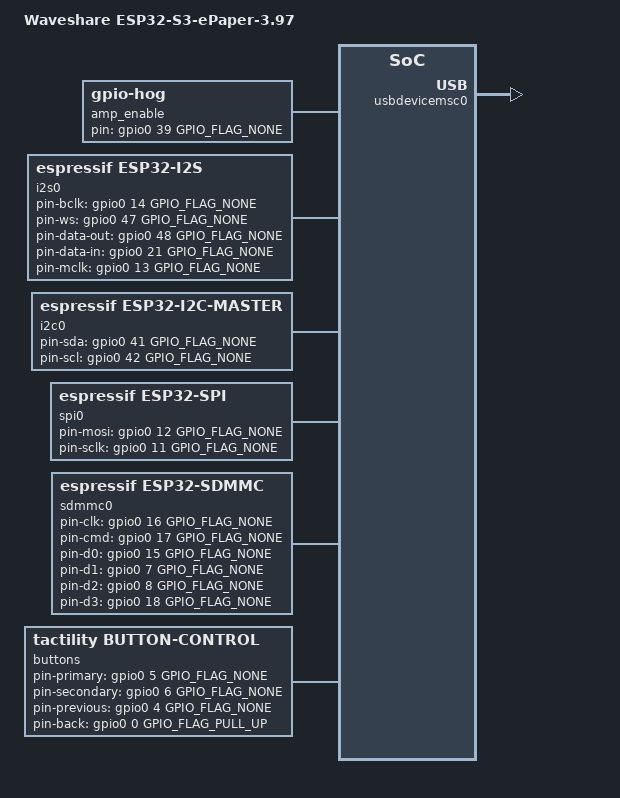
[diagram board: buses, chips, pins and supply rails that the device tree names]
/dts-v1/;

#include <tactility/bindings/root.h>
#include <tactility/bindings/esp32_ble.h>
#include <tactility/bindings/esp32_wifi_pinned.h>
#include <tactility/bindings/esp32_gpio.h>
#include <tactility/bindings/esp32_i2c_master.h>
#include <tactility/bindings/esp32_i2s.h>
#include <tactility/bindings/esp32_sdmmc.h>
#include <tactility/bindings/esp32_spi.h>
#include <tactility/bindings/esp32_usbdevice.h>
#include <tactility/bindings/gpio_hog.h>
#include <bindings/axp2101.h>
#include <bindings/pcf85063.h>
#include <bindings/qmi8658.h>
#include <bindings/shtc3.h>
#include <bindings/es8311.h>
#include <bindings/ssd1677.h>
#include <bindings/button_control.h>

// Reference: https://docs.waveshare.com/ESP32-S3-ePaper-3.97
/ {
	compatible = "root";
	model = "Waveshare ESP32-S3-ePaper-3.97";

	wifi0 {
		compatible = "espressif,esp32-wifi-pinned";
	};

	ble0 {
		compatible = "espressif,esp32-ble";
	};

	gpio0 {
		compatible = "espressif,esp32-gpio";
		gpio-count = <49>;
	};

	// NS4150B speaker amplifier enable, active high
	amp_enable {
		compatible = "gpio-hog";
		pin = <&gpio0 39 GPIO_FLAG_NONE>;
		mode = <GPIO_HOG_MODE_OUTPUT_HIGH>;
	};

	// Before the I2C bus so the codec can reference it
	i2s0 {
		compatible = "espressif,esp32-i2s";
		port = <I2S_NUM_0>;
		pin-bclk = <&gpio0 14 GPIO_FLAG_NONE>;
		pin-ws = <&gpio0 47 GPIO_FLAG_NONE>;
		pin-data-out = <&gpio0 48 GPIO_FLAG_NONE>;
		pin-data-in = <&gpio0 21 GPIO_FLAG_NONE>;
		pin-mclk = <&gpio0 13 GPIO_FLAG_NONE>;
	};

	// Before the display, the PMIC powers the panel
	i2c0 {
		compatible = "espressif,esp32-i2c-master";
		port = <I2C_NUM_0>;
		clock-frequency = <400000>;
		pin-sda = <&gpio0 41 GPIO_FLAG_NONE>;
		pin-scl = <&gpio0 42 GPIO_FLAG_NONE>;

		// TG28, register-compatible with the AXP2101. ALDO3 powers the e-paper panel, ALDO1 and ALDO2 the audio
		// parts, all at 3.3 V like the example code of Waveshare.
		axp2101 {
			compatible = "x-powers,axp2101";
			reg = <0x34>;
			aldo1-millivolt = <3300>;
			aldo1-enabled;
			aldo2-millivolt = <3300>;
			aldo2-enabled;
			aldo3-millivolt = <3300>;
			aldo3-enabled;
		};

		pcf85063 {
			compatible = "nxp,pcf85063";
			reg = <0x51>;
		};

		// Sensor X points to the left edge of the screen, Y to the top edge and Z into the screen (silkscreen
		// arrows on the back of the board)
		qmi8658 {
			compatible = "qst,qmi8658";
			reg = <0x6B>;
			mount-matrix = <-1 0 0
			                0 1 0
			                0 0 -1>;
		};

		shtc3 {
			compatible = "sensirion,shtc3";
			reg = <0x70>;
		};

		es8311 {
			compatible = "everest,es8311";
			reg = <0x18>;
			i2s = <&i2s0>;
		};
	};

	spi0 {
		compatible = "espressif,esp32-spi";
		host = <SPI2_HOST>;
		pin-mosi = <&gpio0 12 GPIO_FLAG_NONE>;
		pin-sclk = <&gpio0 11 GPIO_FLAG_NONE>;
		max-transfer-size = <4096>;

		display@0 {
			compatible = "solomon-systech,ssd1677";
			pin-dc = <&gpio0 9 GPIO_FLAG_NONE>;
			pin-reset = <&gpio0 46 GPIO_FLAG_NONE>;
			pin-busy = <&gpio0 3 GPIO_FLAG_NONE>;
			pin-cs = <&gpio0 10 GPIO_FLAG_NONE>;
		};
	};

	sdmmc0 {
		compatible = "espressif,esp32-sdmmc";
		pin-clk = <&gpio0 16 GPIO_FLAG_NONE>;
		pin-cmd = <&gpio0 17 GPIO_FLAG_NONE>;
		pin-d0 = <&gpio0 15 GPIO_FLAG_NONE>;
		pin-d1 = <&gpio0 7 GPIO_FLAG_NONE>;
		pin-d2 = <&gpio0 8 GPIO_FLAG_NONE>;
		pin-d3 = <&gpio0 18 GPIO_FLAG_NONE>;
		slot = <SDMMC_HOST_SLOT_1>;
		bus-width = <4>;
	};

	// Up, press and down of the switch on the top edge, active low with external pull-ups
	buttons {
		compatible = "tactility,button-control";
		pin-primary = <&gpio0 5 GPIO_FLAG_NONE>;
		pin-secondary = <&gpio0 6 GPIO_FLAG_NONE>;
		pin-previous = <&gpio0 4 GPIO_FLAG_NONE>;
		// BOOT button
		pin-back = <&gpio0 0 GPIO_FLAG_PULL_UP>;
	};

	usbdevice0 {
		compatible = "espressif,esp32-usbdevice";

		usbdevicemsc0 {
			compatible = "espressif,esp32-usbdevice-msc";
		};
	};
};
